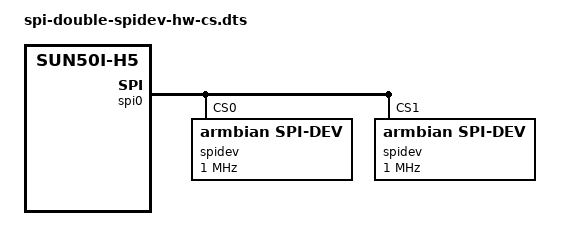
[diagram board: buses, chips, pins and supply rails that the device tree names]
/dts-v1/;
/plugin/;

/ {
	compatible = "allwinner,sun4i-a10", "allwinner,sun7i-a20", "allwinner,sun8i-h3", "allwinner,sun50i-a64", "allwinner,sun50i-h5";

	fragment@0 {
		target = <&spi0>;
		__overlay__ {
			#address-cells = <1>;
			#size-cells = <0>;
			pinctrl-names="default";
			pinctrl-0 =<&spi0_pi_pins>;
			status = "okay";

			spidev@0 {
				reg = <0>; /* Chip Select 0 */
				compatible = "armbian,spi-dev";
				spi-max-frequency = <1000000>;
				pinctrl-names="default";
				pinctrl-0=<&spi0_cs0_pi_pin>
				status = "okay";
			};

			spidev@1 {
				reg = <1>; /* Chip Select 1 */
				compatible = "armbian,spi-dev";
				spi-max-frequency = <1000000>;
				pinctrl-names="default";
				pinctrl-0=<&spi0_cs1_pi_pin>
				status = "okay";
			};
		};
	};
};
